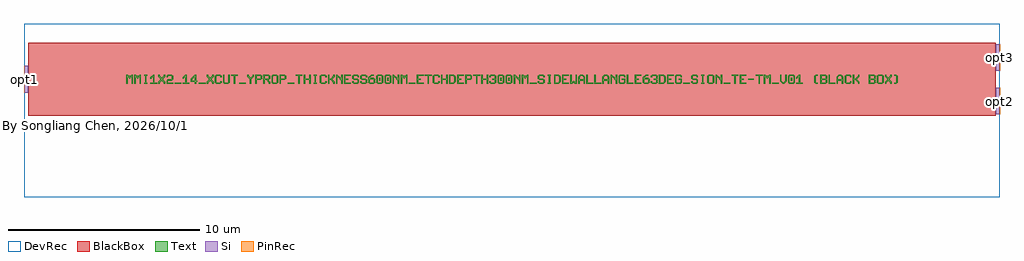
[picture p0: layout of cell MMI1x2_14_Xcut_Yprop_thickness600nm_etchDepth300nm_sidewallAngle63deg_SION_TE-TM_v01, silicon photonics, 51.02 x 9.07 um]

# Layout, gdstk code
import gdstk
lib = gdstk.Library(unit=1e-6, precision=1e-10)
def R(c, l, rs):  # rectangles x0, y0, x1, y1
    for r in rs: c.add(gdstk.rectangle(r[:2], r[2:], *l))
def A(c, l, x, y, w, h, nx, ny, dx, dy):  # array of equal rectangles
    R(c, l, [(x+i*dx, y+j*dy, x+i*dx+w, y+j*dy+h) for i in range(nx) for j in range(ny)])
def P(c, l, *ps):  # polygons
    for p in ps: c.add(gdstk.Polygon(p, *l))
Si = (1, 0)
PinRec = (1, 10)
Text = (10, 0)
DevRec = (68, 0)
BlackBox = (998, 0)

text = lib.new_cell('TEXT')
A(text, Text, 8.44, 0, 0.351, 0.07, 3, 1, 6.33, 0)
R(text, Text, [(2.532,0,2.883,0.07), (3.798,0,4.149,0.07), (5.908,0,6.259,0.07), (29.118,0,29.469,0.07), (31.228,0,31.579,0.07), (33.76,0,34.111,0.07), (13.223,0.176,13.293,0.316), (13.645,0.176,13.715,0.316), (19.553,0.176,19.623,0.316), (19.975,0.176,20.045,0.316), (34.745,0.176,34.815,0.316), (32.529,0.211,32.81,0.281)])
P(text, Text, [(0,0),(0,0.492),(0.07,0.492),(0.141,0.422),(0.211,0.422),(0.281,0.492),(0.351,0.492),(0.351,0),(0.281,0),(0.281,0.351),(0.246,0.351),(0.176,0.281),(0.105,0.351),(0.07,0.351),(0.07,0)],
  [(0.422,0),(0.422,0.492),(0.492,0.492),(0.563,0.422),(0.633,0.422),(0.703,0.492),(0.773,0.492),(0.773,0),(0.703,0),(0.703,0.351),(0.668,0.351),(0.598,0.281),(0.527,0.351),(0.492,0.351),(0.492,0)],
  [(0.949,0),(0.949,0.07),(0.985,0.07),(0.985,0.422),(0.949,0.422),(0.949,0.492),(1.09,0.492),(1.09,0.422),(1.055,0.422),(1.055,0.07),(1.09,0.07),(1.09,0)],
  [(1.266,0),(1.266,0.07),(1.407,0.07),(1.407,0.351),(1.371,0.351),(1.301,0.281),(1.266,0.281),(1.266,0.351),(1.407,0.492),(1.477,0.492),(1.477,0.07),(1.617,0.07),(1.617,0)],
  [(1.688,0),(1.688,0.105),(1.793,0.211),(1.793,0.281),(1.688,0.387),(1.688,0.492),(1.758,0.492),(1.758,0.422),(1.864,0.316),(1.969,0.422),(1.969,0.492),(2.039,0.492),(2.039,0.387),(1.934,0.281),(1.934,0.211),(2.039,0.105),(2.039,0),(1.969,0),(1.969,0.07),(1.864,0.176),(1.758,0.07),(1.758,0)],
  [(2.11,0),(2.11,0.176),(2.18,0.246),(2.356,0.246),(2.391,0.281),(2.391,0.387),(2.356,0.422),(2.215,0.422),(2.18,0.387),(2.18,0.351),(2.11,0.351),(2.11,0.422),(2.18,0.492),(2.391,0.492),(2.461,0.422),(2.461,0.246),(2.391,0.176),(2.215,0.176),(2.18,0.141),(2.18,0.07),(2.461,0.07),(2.461,0)],
  [(2.954,0),(2.954,0.07),(3.095,0.07),(3.095,0.351),(3.059,0.351),(2.989,0.281),(2.954,0.281),(2.954,0.351),(3.095,0.492),(3.165,0.492),(3.165,0.07),(3.305,0.07),(3.305,0)],
  [(3.587,0),(3.587,0.105),(3.376,0.105),(3.376,0.176),(3.587,0.176),(3.587,0.351),(3.552,0.351),(3.446,0.246),(3.446,0.176),(3.376,0.176),(3.376,0.281),(3.587,0.492),(3.657,0.492),(3.657,0.176),(3.727,0.176),(3.727,0.105),(3.657,0.105),(3.657,0)],
  [(4.22,0),(4.22,0.105),(4.325,0.211),(4.325,0.281),(4.22,0.387),(4.22,0.492),(4.29,0.492),(4.29,0.422),(4.396,0.316),(4.501,0.422),(4.501,0.492),(4.571,0.492),(4.571,0.387),(4.466,0.281),(4.466,0.211),(4.571,0.105),(4.571,0),(4.501,0),(4.501,0.07),(4.396,0.176),(4.29,0.07),(4.29,0)],
  [(4.712,0),(4.642,0.07),(4.642,0.422),(4.712,0.492),(4.923,0.492),(4.993,0.422),(4.993,0.351),(4.923,0.351),(4.923,0.387),(4.888,0.422),(4.747,0.422),(4.712,0.387),(4.712,0.105),(4.747,0.07),(4.888,0.07),(4.923,0.105),(4.923,0.141),(4.993,0.141),(4.993,0.07),(4.923,0)],
  [(5.134,0),(5.064,0.07),(5.064,0.492),(5.134,0.492),(5.134,0.105),(5.169,0.07),(5.31,0.07),(5.345,0.105),(5.345,0.492),(5.415,0.492),(5.415,0.07),(5.345,0)],
  [(5.627,0),(5.627,0.422),(5.486,0.422),(5.486,0.492),(5.837,0.492),(5.837,0.422),(5.697,0.422),(5.697,0)],
  [(6.471,0),(6.471,0.246),(6.33,0.387),(6.33,0.492),(6.4,0.492),(6.4,0.422),(6.506,0.316),(6.611,0.422),(6.611,0.492),(6.681,0.492),(6.681,0.387),(6.541,0.246),(6.541,0)],
  [(6.752,0),(6.752,0.492),(7.033,0.492),(7.103,0.422),(7.103,0.281),(7.033,0.211),(6.822,0.211),(6.822,0.281),(6.998,0.281),(7.033,0.316),(7.033,0.387),(6.998,0.422),(6.822,0.422),(6.822,0)],
  [(7.174,0),(7.174,0.492),(7.455,0.492),(7.525,0.422),(7.244,0.422),(7.244,0.281),(7.42,0.281),(7.455,0.316),(7.455,0.387),(7.42,0.422),(7.525,0.422),(7.525,0.281),(7.455,0.211),(7.455,0.176),(7.525,0.105),(7.525,0),(7.455,0),(7.455,0.07),(7.315,0.211),(7.244,0.211),(7.244,0)],
  [(7.666,0),(7.596,0.07),(7.596,0.422),(7.666,0.492),(7.877,0.492),(7.947,0.422),(7.947,0.246),(7.877,0.246),(7.877,0.387),(7.842,0.422),(7.701,0.422),(7.666,0.387),(7.666,0.105),(7.701,0.07),(7.842,0.07),(7.877,0.105),(7.877,0.246),(7.947,0.246),(7.947,0.07),(7.877,0)],
  [(8.018,0),(8.018,0.492),(8.299,0.492),(8.369,0.422),(8.369,0.281),(8.299,0.211),(8.088,0.211),(8.088,0.281),(8.264,0.281),(8.299,0.316),(8.299,0.387),(8.264,0.422),(8.088,0.422),(8.088,0)],
  [(9.003,0),(9.003,0.422),(8.862,0.422),(8.862,0.492),(9.213,0.492),(9.213,0.422),(9.073,0.422),(9.073,0)],
  [(9.284,0),(9.284,0.492),(9.354,0.492),(9.354,0.281),(9.565,0.281),(9.565,0.492),(9.635,0.492),(9.635,0),(9.565,0),(9.565,0.211),(9.354,0.211),(9.354,0)],
  [(9.811,0),(9.811,0.07),(9.847,0.07),(9.847,0.422),(9.811,0.422),(9.811,0.492),(9.952,0.492),(9.952,0.422),(9.917,0.422),(9.917,0.07),(9.952,0.07),(9.952,0)],
  [(10.198,0),(10.128,0.07),(10.128,0.422),(10.198,0.492),(10.409,0.492),(10.479,0.422),(10.479,0.351),(10.409,0.351),(10.409,0.387),(10.374,0.422),(10.233,0.422),(10.198,0.387),(10.198,0.105),(10.233,0.07),(10.374,0.07),(10.409,0.105),(10.409,0.141),(10.479,0.141),(10.479,0.07),(10.409,0)],
  [(10.55,0),(10.55,0.492),(10.62,0.492),(10.62,0.281),(10.691,0.281),(10.831,0.422),(10.831,0.492),(10.901,0.492),(10.901,0.387),(10.761,0.246),(10.901,0.105),(10.901,0),(10.831,0),(10.831,0.07),(10.691,0.211),(10.62,0.211),(10.62,0)],
  [(10.972,0),(10.972,0.492),(11.042,0.492),(11.218,0.316),(11.253,0.316),(11.253,0.492),(11.323,0.492),(11.323,0),(11.253,0),(11.253,0.176),(11.077,0.351),(11.042,0.351),(11.042,0)],
  [(11.394,0),(11.394,0.492),(11.745,0.492),(11.745,0.422),(11.464,0.422),(11.464,0.281),(11.605,0.281),(11.605,0.211),(11.464,0.211),(11.464,0.07),(11.745,0.07),(11.745,0)],
  [(11.886,0),(11.816,0.07),(11.816,0.141),(11.886,0.141),(11.886,0.105),(11.921,0.07),(12.062,0.07),(12.097,0.105),(12.097,0.176),(12.062,0.211),(11.886,0.211),(11.816,0.281),(11.816,0.422),(11.886,0.492),(12.097,0.492),(12.167,0.422),(12.167,0.351),(12.097,0.351),(12.097,0.387),(12.062,0.422),(11.921,0.422),(11.886,0.387),(11.886,0.316),(11.921,0.281),(12.097,0.281),(12.167,0.211),(12.167,0.07),(12.097,0)],
  [(12.308,0),(12.238,0.07),(12.238,0.141),(12.308,0.141),(12.308,0.105),(12.343,0.07),(12.484,0.07),(12.519,0.105),(12.519,0.176),(12.484,0.211),(12.308,0.211),(12.238,0.281),(12.238,0.422),(12.308,0.492),(12.519,0.492),(12.589,0.422),(12.589,0.351),(12.519,0.351),(12.519,0.387),(12.484,0.422),(12.343,0.422),(12.308,0.387),(12.308,0.316),(12.343,0.281),(12.519,0.281),(12.589,0.211),(12.589,0.07),(12.519,0)],
  [(12.73,0),(12.66,0.07),(12.66,0.351),(12.801,0.492),(12.941,0.492),(12.941,0.422),(12.836,0.422),(12.765,0.351),(12.765,0.316),(12.941,0.316),(13.011,0.246),(12.765,0.246),(12.73,0.211),(12.73,0.105),(12.765,0.07),(12.906,0.07),(12.941,0.105),(12.941,0.211),(12.906,0.246),(13.011,0.246),(13.011,0.07),(12.941,0)],
  [(13.152,0),(13.082,0.07),(13.082,0.422),(13.152,0.492),(13.363,0.492),(13.433,0.422),(13.187,0.422),(13.152,0.387),(13.152,0.105),(13.187,0.07),(13.328,0.07),(13.363,0.105),(13.363,0.387),(13.328,0.422),(13.433,0.422),(13.433,0.07),(13.363,0)],
  [(13.574,0),(13.504,0.07),(13.504,0.422),(13.574,0.492),(13.785,0.492),(13.855,0.422),(13.609,0.422),(13.574,0.387),(13.574,0.105),(13.609,0.07),(13.75,0.07),(13.785,0.105),(13.785,0.387),(13.75,0.422),(13.855,0.422),(13.855,0.07),(13.785,0)],
  [(13.926,0),(13.926,0.492),(13.996,0.492),(14.172,0.316),(14.207,0.316),(14.207,0.492),(14.277,0.492),(14.277,0),(14.207,0),(14.207,0.176),(14.031,0.351),(13.996,0.351),(13.996,0)],
  [(14.348,0),(14.348,0.492),(14.418,0.492),(14.489,0.422),(14.559,0.422),(14.629,0.492),(14.699,0.492),(14.699,0),(14.629,0),(14.629,0.351),(14.594,0.351),(14.524,0.281),(14.453,0.351),(14.418,0.351),(14.418,0)],
  [(15.192,0),(15.192,0.492),(15.543,0.492),(15.543,0.422),(15.262,0.422),(15.262,0.281),(15.403,0.281),(15.403,0.211),(15.262,0.211),(15.262,0.07),(15.543,0.07),(15.543,0)],
  [(15.755,0),(15.755,0.422),(15.614,0.422),(15.614,0.492),(15.965,0.492),(15.965,0.422),(15.825,0.422),(15.825,0)],
  [(16.106,0),(16.036,0.07),(16.036,0.422),(16.106,0.492),(16.317,0.492),(16.387,0.422),(16.387,0.351),(16.317,0.351),(16.317,0.387),(16.282,0.422),(16.141,0.422),(16.106,0.387),(16.106,0.105),(16.141,0.07),(16.282,0.07),(16.317,0.105),(16.317,0.141),(16.387,0.141),(16.387,0.07),(16.317,0)],
  [(16.458,0),(16.458,0.492),(16.528,0.492),(16.528,0.281),(16.739,0.281),(16.739,0.492),(16.809,0.492),(16.809,0),(16.739,0),(16.739,0.211),(16.528,0.211),(16.528,0)],
  [(16.88,0),(16.88,0.492),(17.126,0.492),(17.196,0.422),(16.95,0.422),(16.95,0.07),(17.091,0.07),(17.161,0.141),(17.161,0.351),(17.091,0.422),(17.196,0.422),(17.231,0.387),(17.231,0.105),(17.126,0)],
  [(17.302,0),(17.302,0.492),(17.653,0.492),(17.653,0.422),(17.372,0.422),(17.372,0.281),(17.513,0.281),(17.513,0.211),(17.372,0.211),(17.372,0.07),(17.653,0.07),(17.653,0)],
  [(17.724,0),(17.724,0.492),(18.005,0.492),(18.075,0.422),(18.075,0.281),(18.005,0.211),(17.794,0.211),(17.794,0.281),(17.97,0.281),(18.005,0.316),(18.005,0.387),(17.97,0.422),(17.794,0.422),(17.794,0)],
  [(18.287,0),(18.287,0.422),(18.146,0.422),(18.146,0.492),(18.497,0.492),(18.497,0.422),(18.357,0.422),(18.357,0)],
  [(18.568,0),(18.568,0.492),(18.638,0.492),(18.638,0.281),(18.849,0.281),(18.849,0.492),(18.919,0.492),(18.919,0),(18.849,0),(18.849,0.211),(18.638,0.211),(18.638,0)],
  [(19.06,0),(18.99,0.07),(18.99,0.141),(19.06,0.141),(19.06,0.105),(19.095,0.07),(19.236,0.07),(19.271,0.105),(19.271,0.176),(19.236,0.211),(19.131,0.211),(19.131,0.281),(19.236,0.281),(19.271,0.316),(19.271,0.387),(19.236,0.422),(19.095,0.422),(19.06,0.387),(19.06,0.351),(18.99,0.351),(18.99,0.422),(19.06,0.492),(19.271,0.492),(19.341,0.422),(19.341,0.281),(19.306,0.246),(19.341,0.211),(19.341,0.07),(19.271,0)],
  [(19.482,0),(19.412,0.07),(19.412,0.422),(19.482,0.492),(19.693,0.492),(19.763,0.422),(19.517,0.422),(19.482,0.387),(19.482,0.105),(19.517,0.07),(19.658,0.07),(19.693,0.105),(19.693,0.387),(19.658,0.422),(19.763,0.422),(19.763,0.07),(19.693,0)],
  [(19.904,0),(19.834,0.07),(19.834,0.422),(19.904,0.492),(20.115,0.492),(20.185,0.422),(19.939,0.422),(19.904,0.387),(19.904,0.105),(19.939,0.07),(20.08,0.07),(20.115,0.105),(20.115,0.387),(20.08,0.422),(20.185,0.422),(20.185,0.07),(20.115,0)],
  [(20.256,0),(20.256,0.492),(20.326,0.492),(20.502,0.316),(20.537,0.316),(20.537,0.492),(20.607,0.492),(20.607,0),(20.537,0),(20.537,0.176),(20.361,0.351),(20.326,0.351),(20.326,0)],
  [(20.678,0),(20.678,0.492),(20.748,0.492),(20.819,0.422),(20.889,0.422),(20.959,0.492),(21.029,0.492),(21.029,0),(20.959,0),(20.959,0.351),(20.924,0.351),(20.854,0.281),(20.783,0.351),(20.748,0.351),(20.748,0)],
  [(21.592,0),(21.522,0.07),(21.522,0.141),(21.592,0.141),(21.592,0.105),(21.627,0.07),(21.768,0.07),(21.803,0.105),(21.803,0.176),(21.768,0.211),(21.592,0.211),(21.522,0.281),(21.522,0.422),(21.592,0.492),(21.803,0.492),(21.873,0.422),(21.873,0.351),(21.803,0.351),(21.803,0.387),(21.768,0.422),(21.627,0.422),(21.592,0.387),(21.592,0.316),(21.627,0.281),(21.803,0.281),(21.873,0.211),(21.873,0.07),(21.803,0)],
  [(22.049,0),(22.049,0.07),(22.085,0.07),(22.085,0.422),(22.049,0.422),(22.049,0.492),(22.19,0.492),(22.19,0.422),(22.155,0.422),(22.155,0.07),(22.19,0.07),(22.19,0)],
  [(22.366,0),(22.366,0.492),(22.612,0.492),(22.682,0.422),(22.436,0.422),(22.436,0.07),(22.577,0.07),(22.647,0.141),(22.647,0.351),(22.577,0.422),(22.682,0.422),(22.717,0.387),(22.717,0.105),(22.612,0)],
  [(22.788,0),(22.788,0.492),(23.139,0.492),(23.139,0.422),(22.858,0.422),(22.858,0.281),(22.999,0.281),(22.999,0.211),(22.858,0.211),(22.858,0.07),(23.139,0.07),(23.139,0)],
  [(23.21,0),(23.21,0.492),(23.28,0.492),(23.28,0.105),(23.315,0.105),(23.386,0.176),(23.456,0.105),(23.491,0.105),(23.491,0.492),(23.561,0.492),(23.561,0),(23.456,0),(23.386,0.07),(23.315,0)],
  [(23.632,0),(23.632,0.387),(23.737,0.492),(23.878,0.492),(23.948,0.422),(23.773,0.422),(23.702,0.351),(23.702,0.246),(23.913,0.246),(23.913,0.351),(23.843,0.422),(23.948,0.422),(23.983,0.387),(23.983,0),(23.913,0),(23.913,0.176),(23.702,0.176),(23.702,0)],
  [(24.054,0),(24.054,0.492),(24.124,0.492),(24.124,0.07),(24.405,0.07),(24.405,0)],
  [(24.476,0),(24.476,0.492),(24.546,0.492),(24.546,0.07),(24.827,0.07),(24.827,0)],
  [(24.898,0),(24.898,0.387),(25.003,0.492),(25.144,0.492),(25.214,0.422),(25.039,0.422),(24.968,0.351),(24.968,0.246),(25.179,0.246),(25.179,0.351),(25.109,0.422),(25.214,0.422),(25.249,0.387),(25.249,0),(25.179,0),(25.179,0.176),(24.968,0.176),(24.968,0)],
  [(25.32,0),(25.32,0.492),(25.39,0.492),(25.566,0.316),(25.601,0.316),(25.601,0.492),(25.671,0.492),(25.671,0),(25.601,0),(25.601,0.176),(25.425,0.351),(25.39,0.351),(25.39,0)],
  [(25.812,0),(25.742,0.07),(25.742,0.422),(25.812,0.492),(26.023,0.492),(26.093,0.422),(26.093,0.351),(26.023,0.351),(26.023,0.387),(25.988,0.422),(25.847,0.422),(25.812,0.387),(25.812,0.105),(25.847,0.07),(25.988,0.07),(26.023,0.105),(26.023,0.211),(25.918,0.211),(25.918,0.281),(26.093,0.281),(26.093,0.07),(26.023,0)],
  [(26.164,0),(26.164,0.492),(26.234,0.492),(26.234,0.07),(26.515,0.07),(26.515,0)],
  [(26.586,0),(26.586,0.492),(26.937,0.492),(26.937,0.422),(26.656,0.422),(26.656,0.281),(26.797,0.281),(26.797,0.211),(26.656,0.211),(26.656,0.07),(26.937,0.07),(26.937,0)],
  [(27.078,0),(27.008,0.07),(27.008,0.351),(27.149,0.492),(27.289,0.492),(27.289,0.422),(27.184,0.422),(27.113,0.351),(27.113,0.316),(27.289,0.316),(27.359,0.246),(27.113,0.246),(27.078,0.211),(27.078,0.105),(27.113,0.07),(27.254,0.07),(27.289,0.105),(27.289,0.211),(27.254,0.246),(27.359,0.246),(27.359,0.07),(27.289,0)],
  [(27.5,0),(27.43,0.07),(27.43,0.141),(27.5,0.141),(27.5,0.105),(27.535,0.07),(27.676,0.07),(27.711,0.105),(27.711,0.176),(27.676,0.211),(27.571,0.211),(27.571,0.281),(27.676,0.281),(27.711,0.316),(27.711,0.387),(27.676,0.422),(27.535,0.422),(27.5,0.387),(27.5,0.351),(27.43,0.351),(27.43,0.422),(27.5,0.492),(27.711,0.492),(27.781,0.422),(27.781,0.281),(27.746,0.246),(27.781,0.211),(27.781,0.07),(27.711,0)],
  [(27.852,0),(27.852,0.492),(28.098,0.492),(28.168,0.422),(27.922,0.422),(27.922,0.07),(28.063,0.07),(28.133,0.141),(28.133,0.351),(28.063,0.422),(28.168,0.422),(28.203,0.387),(28.203,0.105),(28.098,0)],
  [(28.274,0),(28.274,0.492),(28.625,0.492),(28.625,0.422),(28.344,0.422),(28.344,0.281),(28.485,0.281),(28.485,0.211),(28.344,0.211),(28.344,0.07),(28.625,0.07),(28.625,0)],
  [(28.766,0),(28.696,0.07),(28.696,0.422),(28.766,0.492),(28.977,0.492),(29.047,0.422),(29.047,0.351),(28.977,0.351),(28.977,0.387),(28.942,0.422),(28.801,0.422),(28.766,0.387),(28.766,0.105),(28.801,0.07),(28.942,0.07),(28.977,0.105),(28.977,0.211),(28.872,0.211),(28.872,0.281),(29.047,0.281),(29.047,0.07),(28.977,0)],
  [(29.61,0),(29.54,0.07),(29.54,0.141),(29.61,0.141),(29.61,0.105),(29.645,0.07),(29.786,0.07),(29.821,0.105),(29.821,0.176),(29.786,0.211),(29.61,0.211),(29.54,0.281),(29.54,0.422),(29.61,0.492),(29.821,0.492),(29.891,0.422),(29.891,0.351),(29.821,0.351),(29.821,0.387),(29.786,0.422),(29.645,0.422),(29.61,0.387),(29.61,0.316),(29.645,0.281),(29.821,0.281),(29.891,0.211),(29.891,0.07),(29.821,0)],
  [(30.067,0),(30.067,0.07),(30.103,0.07),(30.103,0.422),(30.067,0.422),(30.067,0.492),(30.208,0.492),(30.208,0.422),(30.173,0.422),(30.173,0.07),(30.208,0.07),(30.208,0)],
  [(30.454,0),(30.384,0.07),(30.384,0.422),(30.454,0.492),(30.665,0.492),(30.735,0.422),(30.735,0.246),(30.665,0.246),(30.665,0.387),(30.63,0.422),(30.489,0.422),(30.454,0.387),(30.454,0.105),(30.489,0.07),(30.63,0.07),(30.665,0.105),(30.665,0.246),(30.735,0.246),(30.735,0.07),(30.665,0)],
  [(30.806,0),(30.806,0.492),(30.876,0.492),(31.052,0.316),(31.087,0.316),(31.087,0.492),(31.157,0.492),(31.157,0),(31.087,0),(31.087,0.176),(30.911,0.351),(30.876,0.351),(30.876,0)],
  [(31.791,0),(31.791,0.422),(31.65,0.422),(31.65,0.492),(32.001,0.492),(32.001,0.422),(31.861,0.422),(31.861,0)],
  [(32.072,0),(32.072,0.492),(32.423,0.492),(32.423,0.422),(32.142,0.422),(32.142,0.281),(32.283,0.281),(32.283,0.211),(32.142,0.211),(32.142,0.07),(32.423,0.07),(32.423,0)],
  [(33.057,0),(33.057,0.422),(32.916,0.422),(32.916,0.492),(33.267,0.492),(33.267,0.422),(33.127,0.422),(33.127,0)],
  [(33.338,0),(33.338,0.492),(33.408,0.492),(33.479,0.422),(33.549,0.422),(33.619,0.492),(33.689,0.492),(33.689,0),(33.619,0),(33.619,0.351),(33.584,0.351),(33.514,0.281),(33.443,0.351),(33.408,0.351),(33.408,0)],
  [(34.323,0),(34.182,0.141),(34.182,0.492),(34.252,0.492),(34.252,0.176),(34.358,0.07),(34.463,0.176),(34.463,0.492),(34.533,0.492),(34.533,0.141),(34.393,0)],
  [(34.674,0),(34.604,0.07),(34.604,0.422),(34.674,0.492),(34.885,0.492),(34.955,0.422),(34.709,0.422),(34.674,0.387),(34.674,0.105),(34.709,0.07),(34.85,0.07),(34.885,0.105),(34.885,0.387),(34.85,0.422),(34.955,0.422),(34.955,0.07),(34.885,0)],
  [(35.026,0),(35.026,0.07),(35.167,0.07),(35.167,0.351),(35.131,0.351),(35.061,0.281),(35.026,0.281),(35.026,0.351),(35.167,0.492),(35.237,0.492),(35.237,0.07),(35.377,0.07),(35.377,0)],
  [(36.046,0),(35.975,0.07),(35.975,0.422),(36.046,0.492),(36.151,0.492),(36.151,0.422),(36.081,0.422),(36.046,0.387),(36.046,0.105),(36.081,0.07),(36.151,0.07),(36.151,0)],
  [(36.292,0),(36.292,0.492),(36.573,0.492),(36.643,0.422),(36.362,0.422),(36.362,0.281),(36.538,0.281),(36.573,0.316),(36.573,0.387),(36.538,0.422),(36.643,0.422),(36.643,0.281),(36.608,0.246),(36.643,0.211),(36.362,0.211),(36.362,0.07),(36.538,0.07),(36.573,0.105),(36.573,0.176),(36.538,0.211),(36.643,0.211),(36.643,0.07),(36.573,0)],
  [(36.714,0),(36.714,0.492),(36.784,0.492),(36.784,0.07),(37.065,0.07),(37.065,0)],
  [(37.136,0),(37.136,0.387),(37.241,0.492),(37.382,0.492),(37.452,0.422),(37.277,0.422),(37.206,0.351),(37.206,0.246),(37.417,0.246),(37.417,0.351),(37.347,0.422),(37.452,0.422),(37.487,0.387),(37.487,0),(37.417,0),(37.417,0.176),(37.206,0.176),(37.206,0)],
  [(37.628,0),(37.558,0.07),(37.558,0.422),(37.628,0.492),(37.839,0.492),(37.909,0.422),(37.909,0.351),(37.839,0.351),(37.839,0.387),(37.804,0.422),(37.663,0.422),(37.628,0.387),(37.628,0.105),(37.663,0.07),(37.804,0.07),(37.839,0.105),(37.839,0.141),(37.909,0.141),(37.909,0.07),(37.839,0)],
  [(37.98,0),(37.98,0.492),(38.05,0.492),(38.05,0.281),(38.121,0.281),(38.261,0.422),(38.261,0.492),(38.331,0.492),(38.331,0.387),(38.191,0.246),(38.331,0.105),(38.331,0),(38.261,0),(38.261,0.07),(38.121,0.211),(38.05,0.211),(38.05,0)],
  [(38.824,0),(38.824,0.492),(39.105,0.492),(39.175,0.422),(38.894,0.422),(38.894,0.281),(39.07,0.281),(39.105,0.316),(39.105,0.387),(39.07,0.422),(39.175,0.422),(39.175,0.281),(39.14,0.246),(39.175,0.211),(38.894,0.211),(38.894,0.07),(39.07,0.07),(39.105,0.105),(39.105,0.176),(39.07,0.211),(39.175,0.211),(39.175,0.07),(39.105,0)],
  [(39.316,0),(39.246,0.07),(39.246,0.422),(39.316,0.492),(39.527,0.492),(39.597,0.422),(39.597,0.246),(39.527,0.246),(39.527,0.387),(39.492,0.422),(39.351,0.422),(39.316,0.387),(39.316,0.105),(39.351,0.07),(39.492,0.07),(39.527,0.105),(39.527,0.246),(39.597,0.246),(39.597,0.07),(39.527,0)],
  [(39.668,0),(39.668,0.105),(39.773,0.211),(39.773,0.281),(39.668,0.387),(39.668,0.492),(39.738,0.492),(39.738,0.422),(39.844,0.316),(39.949,0.422),(39.949,0.492),(40.019,0.492),(40.019,0.387),(39.914,0.281),(39.914,0.211),(40.019,0.105),(40.019,0),(39.949,0),(39.949,0.07),(39.844,0.176),(39.738,0.07),(39.738,0)],
  [(40.16,0),(40.16,0.07),(40.231,0.07),(40.266,0.105),(40.266,0.387),(40.231,0.422),(40.16,0.422),(40.16,0.492),(40.266,0.492),(40.336,0.422),(40.336,0.07),(40.266,0)])

mmi1x2_14_xcut_yprop_thi = lib.new_cell('MMI1x2_14_Xcut_Yprop_thickness600nm_etchDepth300nm_sidewallAngle63deg_SION_TE-TM_v01')
R(mmi1x2_14_xcut_yprop_thi, Si, [(25.3,-1.84,25.5,-0.44), (-25.5,-0.7,-25.3,0.7), (25.3,0.44,25.5,1.84)])
R(mmi1x2_14_xcut_yprop_thi, DevRec, [(-25.5,-6.1666,25.5,2.9)])
R(mmi1x2_14_xcut_yprop_thi, BlackBox, [(-25.3,-1.9,25.3,1.9)])
mmi1x2_14_xcut_yprop_thi.add(gdstk.FlexPath([(-25.49,0),(-25.51,0)], 1.4, ends="flush", simple_path=True, layer=1, datatype=10))  # PinRec
mmi1x2_14_xcut_yprop_thi.add(gdstk.FlexPath([(25.49,-1.14),(25.51,-1.14)], 1.4, ends="flush", simple_path=True, layer=1, datatype=10))  # PinRec
mmi1x2_14_xcut_yprop_thi.add(gdstk.FlexPath([(25.49,1.14),(25.51,1.14)], 1.4, ends="flush", simple_path=True, layer=1, datatype=10))  # PinRec
mmi1x2_14_xcut_yprop_thi.add(gdstk.Reference(text, (-20.168,-0.246)))
mmi1x2_14_xcut_yprop_thi.add(gdstk.Label('opt1', (-25.5,0), layer=1, texttype=10))
mmi1x2_14_xcut_yprop_thi.add(gdstk.Label('opt2', (25.5,-1.14), layer=1, texttype=10))
mmi1x2_14_xcut_yprop_thi.add(gdstk.Label('opt3', (25.5,1.14), layer=1, texttype=10))
mmi1x2_14_xcut_yprop_thi.add(gdstk.Label('By Songliang Chen, 2026/10/13', (-25,-2.4), layer=10, texttype=0))

lib.write_gds('MMI1x2_14_Xcut_Yprop_thickness600nm_etchDepth300nm_sidewallAngle63deg_SION_TE-TM_v01.gds')
